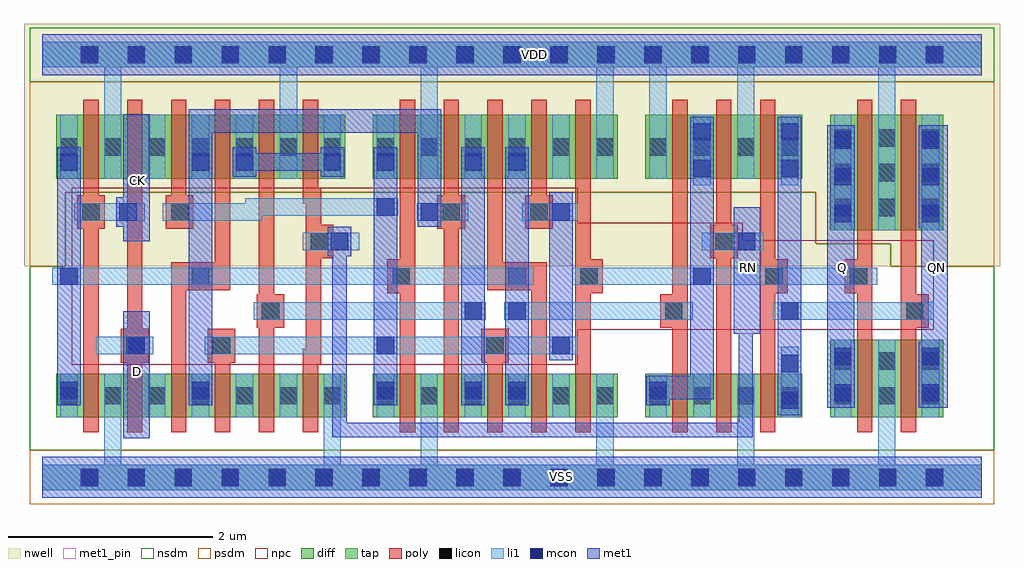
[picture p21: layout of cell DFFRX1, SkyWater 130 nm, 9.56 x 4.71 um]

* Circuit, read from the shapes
.subckt DFFRX1 CK D Q QN RN VDD VSS
XM1 VSS CK n1 VSS sky130_fd_pr__nfet_01v8 w=0.425 l=0.15
XM2 n2 D VSS VSS sky130_fd_pr__nfet_01v8 w=0.425 l=0.15
XM3 n3 n1 n2 VSS sky130_fd_pr__nfet_01v8 w=0.425 l=0.15
XM4 n4 n5 n3 VSS sky130_fd_pr__nfet_01v8 w=0.425 l=0.15
XM5 n6 n7 n4 VSS sky130_fd_pr__nfet_01v8 w=0.425 l=0.15
XM6 VSS RN n6 VSS sky130_fd_pr__nfet_01v8 w=0.425 l=0.15
XM7 VSS n1 n5 VSS sky130_fd_pr__nfet_01v8 w=0.425 l=0.15
XM8 n7 n3 VSS VSS sky130_fd_pr__nfet_01v8 w=0.425 l=0.15
XM9 n8 n5 n7 VSS sky130_fd_pr__nfet_01v8 w=0.425 l=0.15
XM10 n9 n1 n8 VSS sky130_fd_pr__nfet_01v8 w=0.425 l=0.15
XM11 VSS n10 n9 VSS sky130_fd_pr__nfet_01v8 w=0.425 l=0.15
XM12 n11 n8 n10 VSS sky130_fd_pr__nfet_01v8 w=0.425 l=0.15
XM13 VSS RN n11 VSS sky130_fd_pr__nfet_01v8 w=0.425 l=0.15
XM14 n12 n10 VSS VSS sky130_fd_pr__nfet_01v8 w=0.425 l=0.15
XM15 VSS n10 Q VSS sky130_fd_pr__nfet_01v8 w=0.76 l=0.15
XM16 QN n12 VSS VSS sky130_fd_pr__nfet_01v8 w=0.76 l=0.15
XM17 VDD CK n1 VDD sky130_fd_pr__pfet_01v8 w=0.625 l=0.15
XM18 n13 D VDD VDD sky130_fd_pr__pfet_01v8 w=0.625 l=0.15
XM19 n3 n5 n13 VDD sky130_fd_pr__pfet_01v8 w=0.625 l=0.15
XM20 n14 n1 n3 VDD sky130_fd_pr__pfet_01v8 w=0.625 l=0.15
XM21 VDD n7 n14 VDD sky130_fd_pr__pfet_01v8 w=0.625 l=0.15
XM22 n14 RN VDD VDD sky130_fd_pr__pfet_01v8 w=0.625 l=0.15
XM23 VDD n1 n5 VDD sky130_fd_pr__pfet_01v8 w=0.625 l=0.15
XM24 n7 n3 VDD VDD sky130_fd_pr__pfet_01v8 w=0.625 l=0.15
XM25 n8 n1 n7 VDD sky130_fd_pr__pfet_01v8 w=0.625 l=0.15
XM26 n15 n5 n8 VDD sky130_fd_pr__pfet_01v8 w=0.625 l=0.15
XM27 VDD n10 n15 VDD sky130_fd_pr__pfet_01v8 w=0.625 l=0.15
XM28 n10 n8 VDD VDD sky130_fd_pr__pfet_01v8 w=0.625 l=0.15
XM29 VDD RN n10 VDD sky130_fd_pr__pfet_01v8 w=0.625 l=0.15
XM30 n12 n10 VDD VDD sky130_fd_pr__pfet_01v8 w=0.625 l=0.15
XM31 VDD n10 Q VDD sky130_fd_pr__pfet_01v8 w=1.13 l=0.15
XM32 QN n12 VDD VDD sky130_fd_pr__pfet_01v8 w=1.13 l=0.15
.ends

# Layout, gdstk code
from math import pi, radians
import gdstk
lib = gdstk.Library(unit=1e-6, precision=1e-09)
def R(c, l, rs):  # rectangles x0, y0, x1, y1
    for r in rs: c.add(gdstk.rectangle(r[:2], r[2:], *l))
def A(c, l, x, y, w, h, nx, ny, dx, dy):  # array of equal rectangles
    R(c, l, [(x+i*dx, y+j*dy, x+i*dx+w, y+j*dy+h) for i in range(nx) for j in range(ny)])
def P(c, l, *ps):  # polygons
    for p in ps: c.add(gdstk.Polygon(p, *l))
nwell = (64, 20)
diff = (65, 20)
tap = (65, 44)
poly = (66, 20)
licon = (66, 44)
li1 = (67, 20)
mcon = (67, 44)
met1_pin = (68, 16)
met1 = (68, 20)
nsdm = (93, 44)
psdm = (94, 20)
npc = (95, 20)

licondiff_c_cdns_7515547 = lib.new_cell('LICONDIFF_C_CDNS_751554744755')
R(licondiff_c_cdns_7515547, diff, [(-0.125,-0.145,0.125,0.145)])
R(licondiff_c_cdns_7515547, licon, [(-0.085,-0.085,0.085,0.085), (-0.085,-0.085,0.085,0.085)])

pyl1con_c_cdns_751554744 = lib.new_cell('PYL1CON_C_CDNS_751554744751')
R(pyl1con_c_cdns_751554744, poly, [(-0.135,-0.165,0.135,0.165)])
R(pyl1con_c_cdns_751554744, licon, [(-0.085,-0.085,0.085,0.085)])
R(pyl1con_c_cdns_751554744, npc, [(-0.185,-0.185,0.185,0.185)])

c_pyl1con_c_cdns_751554744 = lib.new_cell('PYL1CON_C_CDNS_751554744754')
R(c_pyl1con_c_cdns_751554744, poly, [(-0.135,-0.29,0.135,0.29)])
R(c_pyl1con_c_cdns_751554744, licon, [(-0.085,-0.085,0.085,0.085)])
R(c_pyl1con_c_cdns_751554744, npc, [(-0.185,-0.185,0.185,0.185)])

l1m1_c_cdns_751554744750 = lib.new_cell('L1M1_C_CDNS_751554744750$$20')
R(l1m1_c_cdns_751554744750, li1, [(-0.125,-0.085,0.125,0.085)])
R(l1m1_c_cdns_751554744750, mcon, [(-0.085,-0.085,0.085,0.085)])
R(l1m1_c_cdns_751554744750, met1, [(-0.115,-0.145,0.115,0.145)])

c_l1m1_c_cdns_751554744750 = lib.new_cell('L1M1_C_CDNS_751554744750$$19')
R(c_l1m1_c_cdns_751554744750, li1, [(-0.085,-0.085,0.085,0.085)])
R(c_l1m1_c_cdns_751554744750, mcon, [(-0.085,-0.085,0.085,0.085)])
R(c_l1m1_c_cdns_751554744750, met1, [(-0.115,-0.145,0.115,0.145)])

c_l1m1_c_cdns_751554744750_ = lib.new_cell('L1M1_C_CDNS_751554744750$$8')
R(c_l1m1_c_cdns_751554744750_, li1, [(-0.085,-0.165,0.085,0.165)])
R(c_l1m1_c_cdns_751554744750_, mcon, [(-0.085,-0.085,0.085,0.085)])
R(c_l1m1_c_cdns_751554744750_, met1, [(-0.115,-0.145,0.115,0.145)])

c_l1m1_c_cdns_751554744750__ = lib.new_cell('L1M1_C_CDNS_751554744750$$9')
R(c_l1m1_c_cdns_751554744750__, li1, [(-0.165,-0.085,0.165,0.085)])
R(c_l1m1_c_cdns_751554744750__, mcon, [(-0.085,-0.085,0.085,0.085)])
R(c_l1m1_c_cdns_751554744750__, met1, [(-0.115,-0.145,0.115,0.145)])

c_l1m1_c_cdns_751554744750___ = lib.new_cell('L1M1_C_CDNS_751554744750$$11')
R(c_l1m1_c_cdns_751554744750___, li1, [(-0.085,-0.525,0.085,0.525)])
A(c_l1m1_c_cdns_751554744750___, mcon, -0.085, -0.445, 0.17, 0.17, 1, 3, 0, 0.36)
R(c_l1m1_c_cdns_751554744750___, met1, [(-0.115,-0.505,0.115,0.505)])

c_l1m1_c_cdns_751554744750____ = lib.new_cell('L1M1_C_CDNS_751554744750$$7')
R(c_l1m1_c_cdns_751554744750____, li1, [(-0.085,-0.345,0.085,0.345)])
R(c_l1m1_c_cdns_751554744750____, mcon, [(-0.085,-0.265,0.085,-0.095), (-0.085,0.095,0.085,0.265)])
R(c_l1m1_c_cdns_751554744750____, met1, [(-0.115,-0.325,0.115,0.325)])

dffrx1 = lib.new_cell('DFFRX1')
R(dffrx1, nwell, [(-0.18,2.07,9.38,4.445)])
R(dffrx1, diff, [(0.135,0.59,2.965,1.015), (3.235,0.59,5.635,1.015), (5.905,0.59,7.445,1.015), (7.715,0.59,8.825,1.35), (7.715,2.42,8.825,3.55), (0.135,2.925,2.965,3.55), (3.235,2.925,5.635,3.55), (5.905,2.925,7.445,3.55)])
A(dffrx1, poly, 6.17, 0.44, 0.15, 3.26, 3, 1, 0.43, 0)
R(dffrx1, poly, [(0.4,0.44,0.55,3.7), (0.83,0.44,0.98,3.7), (1.69,0.44,1.84,1.165), (2.12,0.44,2.27,3.7), (3.5,0.44,3.65,3.7), (3.93,0.44,4.08,3.7), (4.36,0.44,4.51,1.165), (5.22,0.44,5.37,3.7), (7.98,0.44,8.13,3.7), (8.41,0.44,8.56,3.7), (1.26,2.72,1.41,3.7), (4.79,2.72,4.94,3.7)])
P(dffrx1, poly, [(1.84,3.7),(1.69,3.7),(1.69,2.045),(1.26,2.045),(1.26,0.44),(1.41,0.44),(1.41,1.895),(1.84,1.895)],
  [(2.73,2.83),(2.7,2.83),(2.7,3.7),(2.55,3.7),(2.55,2.68),(2.58,2.68),(2.58,1.26),(2.55,1.26),(2.55,0.44),(2.7,0.44),(2.7,1.11),(2.73,1.11)],
  [(4.94,2.045),(4.51,2.045),(4.51,3.7),(4.36,3.7),(4.36,1.895),(4.79,1.895),(4.79,0.44),(4.94,0.44)])
A(dffrx1, licon, 0.375, -0.085, 0.17, 0.17, 19, 2, 0.46, 4.14)
A(dffrx1, licon, 3.275, 0.715, 0.17, 0.17, 4, 2, 0.43, 2.435)
A(dffrx1, licon, 5.945, 0.715, 0.17, 0.17, 4, 2, 0.43, 2.435)
A(dffrx1, licon, 7.755, 0.715, 0.17, 0.17, 3, 2, 0.43, 0.34)
A(dffrx1, licon, 7.755, 2.56, 0.17, 0.17, 3, 3, 0.43, 0.34)
A(dffrx1, licon, 1.465, 3.15, 0.17, 0.17, 4, 1, 0.43, 0)
R(dffrx1, licon, [(0.175,0.715,0.345,0.885), (0.605,0.715,0.775,0.885), (1.465,0.715,1.635,0.885), (2.755,0.715,2.925,0.885), (5.425,0.715,5.595,0.885), (0.175,3.15,0.345,3.32), (0.605,3.15,0.775,3.32), (5.425,3.15,5.595,3.32)])
R(dffrx1, li1, [(0.175,0.59,0.345,1.015), (1.465,0.59,1.635,1.015), (3.275,0.59,3.445,1.015), (4.135,0.59,4.305,1.015), (4.565,0.59,4.735,1.015), (5.945,0.59,6.115,1.015), (6.375,0.59,6.545,1.015), (7.235,0.59,7.405,1.015), (7.755,0.59,7.925,1.35), (8.615,0.59,8.785,1.35), (7.755,2.42,7.925,3.55), (8.615,2.42,8.785,3.55), (0.31,2.515,0.855,2.685), (0.175,2.925,0.345,3.55), (1.465,2.925,1.635,3.55), (1.895,2.925,2.065,3.55), (2.755,2.925,2.925,3.55), (3.275,2.925,3.445,3.55), (4.135,2.925,4.305,3.55), (4.565,2.925,4.735,3.55), (6.375,2.925,6.545,3.55), (7.235,2.925,7.405,3.55)])
P(dffrx1, li1, [(3.36,2.735),(1.985,2.735),(1.985,2.685),(1.18,2.685),(1.18,2.515),(2.155,2.515),(2.155,2.565),(3.36,2.565)],
  [(9.2,4.265),(0,4.265),(0,4.015),(0.605,4.015),(0.605,2.925),(0.775,2.925),(0.775,4.015),(2.325,4.015),(2.325,2.925),(2.495,2.925),(2.495,4.015),(3.705,4.015),(3.705,2.925),(3.875,2.925),(3.875,4.015),(5.425,4.015),(5.425,2.925),(5.595,2.925),(5.595,4.015),(5.945,4.015),(5.945,2.925),(6.115,2.925),(6.115,4.015),(6.805,4.015),(6.805,2.925),(6.975,2.925),(6.975,4.015),(8.185,4.015),(8.185,2.42),(8.355,2.42),(8.355,4.015),(9.2,4.015)],
  [(9.2,0.125),(8.355,0.125),(8.355,1.35),(8.185,1.35),(8.185,0.125),(6.975,0.125),(6.975,1.015),(6.805,1.015),(6.805,0.125),(5.595,0.125),(5.595,1.015),(5.425,1.015),(5.425,0.125),(3.875,0.125),(3.875,1.015),(3.705,1.015),(3.705,0.125),(2.925,0.125),(2.925,1.015),(2.755,1.015),(2.755,0.125),(0.775,0.125),(0.775,1.015),(0.605,1.015),(0.605,0.125),(0,0.125),(0,-0.125),(9.2,-0.125)])
A(dffrx1, mcon, 0.375, -0.085, 0.17, 0.17, 19, 2, 0.46, 4.14)
R(dffrx1, met1_pin, [(0.79,0.385,1.05,1.625), (7.69,0.68,7.95,3.45), (8.61,0.68,8.87,3.45), (6.77,1.405,7.03,2.645), (0.79,2.315,1.05,3.555)])
P(dffrx1, met1, [(7.03,2.645),(6.77,2.645),(6.77,1.405),(6.82,1.405),(6.82,0.535),(2.98,0.535),(2.98,2.31),(2.84,2.31),(2.84,0.395),(6.96,0.395),(6.96,1.405),(7.03,1.405)])
R(dffrx1, nsdm, [(-0.125,3.875,9.325,4.405)])
P(dffrx1, nsdm, [(9.325,2.07),(8.31,2.07),(8.31,2.29),(7.575,2.29),(7.575,2.795),(0.225,2.795),(0.225,2.07),(-0.125,2.07),(-0.125,0.265),(9.325,0.265)])
R(dffrx1, psdm, [(-0.125,-0.265,9.325,0.265)])
P(dffrx1, psdm, [(9.325,3.875),(-0.125,3.875),(-0.125,2.07),(0.225,2.07),(0.225,2.795),(7.575,2.795),(7.575,2.29),(8.31,2.29),(8.31,2.07),(9.325,2.07)])
P(dffrx1, npc, [(8.73,2.325),(6.86,2.325),(6.86,2.495),(5.245,2.495),(5.245,2.835),(0.29,2.835),(0.29,1.105),(5.245,1.105),(5.245,1.445),(8.73,1.445)])
dffrx1.add(gdstk.FlexPath([(7.155,1.63),(8.73,1.63)], 0.17, ends="flush", simple_path=True, layer=67, datatype=20))  # li1
dffrx1.add(gdstk.FlexPath([(5.19,1.97),(8.18,1.97)], 0.17, ends="flush", simple_path=True, layer=67, datatype=20))  # li1
dffrx1.add(gdstk.FlexPath([(0.525,1.29),(1.07,1.29)], 0.17, ends="flush", simple_path=True, layer=67, datatype=20))  # li1
dffrx1.add(gdstk.FlexPath([(5.08,2.925),(5.08,3.55)], 0.17, ends="flush", simple_path=True, layer=67, datatype=20))  # li1
dffrx1.add(gdstk.FlexPath([(5.08,0.59),(5.08,1.015)], 0.17, ends="flush", simple_path=True, layer=67, datatype=20))  # li1
dffrx1.add(gdstk.FlexPath([(1.98,0.59),(1.98,1.015)], 0.17, ends="flush", simple_path=True, layer=67, datatype=20))  # li1
dffrx1.add(gdstk.FlexPath([(0.095,1.97),(4.815,1.97)], 0.17, ends="flush", simple_path=True, layer=67, datatype=20))  # li1
dffrx1.add(gdstk.FlexPath([(1.59,1.29),(5.245,1.29)], 0.17, ends="flush", simple_path=True, layer=67, datatype=20))  # li1
dffrx1.add(gdstk.FlexPath([(3.665,2.6),(4.17,2.6)], 0.17, ends="flush", simple_path=True, layer=67, datatype=20))  # li1
dffrx1.add(gdstk.FlexPath([(1.12,2.925),(1.12,3.55)], 0.17, ends="flush", simple_path=True, layer=67, datatype=20))  # li1
dffrx1.add(gdstk.FlexPath([(1.12,0.59),(1.12,1.015)], 0.17, ends="flush", simple_path=True, layer=67, datatype=20))  # li1
dffrx1.add(gdstk.FlexPath([(2.41,0.59),(2.41,1.015)], 0.17, ends="flush", simple_path=True, layer=67, datatype=20))  # li1
dffrx1.add(gdstk.FlexPath([(4.525,1.63),(6.37,1.63)], 0.17, ends="flush", simple_path=True, layer=67, datatype=20))  # li1
dffrx1.add(gdstk.FlexPath([(2.07,1.63),(4.345,1.63)], 0.17, ends="flush", simple_path=True, layer=67, datatype=20))  # li1
dffrx1.add(gdstk.FlexPath([(4.7,2.6),(5.245,2.6)], 0.17, ends="flush", simple_path=True, layer=67, datatype=20))  # li1
dffrx1.add(gdstk.FlexPath([(2.55,2.31),(3.105,2.31)], 0.17, ends="flush", simple_path=True, layer=67, datatype=20))  # li1
dffrx1.add(gdstk.FlexPath([(7.055,2.31),(6.46,2.31)], 0.17, ends="flush", simple_path=True, layer=67, datatype=20))  # li1
dffrx1.add(gdstk.FlexPath([(0,4.14),(9.2,4.14)], 0.25, ends="flush", simple_path=True, layer=65, datatype=44))  # tap
dffrx1.add(gdstk.FlexPath([(0,0),(9.2,0)], 0.25, ends="flush", simple_path=True, layer=65, datatype=44))  # tap
dffrx1.add(gdstk.FlexPath([(4.22,0.705),(4.22,3.235)], 0.23, ends="flush", simple_path=True, layer=68, datatype=20))  # met1
dffrx1.add(gdstk.FlexPath([(0,0),(9.2,0)], 0.4, ends="flush", simple_path=True, layer=68, datatype=20))  # met1
dffrx1.add(gdstk.FlexPath([(0,4.14),(9.2,4.14)], 0.4, ends="flush", simple_path=True, layer=68, datatype=20))  # met1
dffrx1.add(gdstk.FlexPath([(0.26,0.705),(0.26,3.235)], 0.23, ends="flush", simple_path=True, layer=68, datatype=20))  # met1
dffrx1.add(gdstk.FlexPath([(6.46,3.53),(6.46,0.88),(5.915,0.88)], 0.23, ends="flush", simple_path=True, layer=68, datatype=20))  # met1
dffrx1.add(gdstk.FlexPath([(1.865,3.09),(2.955,3.09)], 0.17, ends="flush", simple_path=True, layer=68, datatype=20))  # met1
dffrx1.add(gdstk.FlexPath([(3.79,2.505),(3.79,3.49),(1.55,3.49),(1.55,0.705)], 0.23, ends="flush", simple_path=True, layer=68, datatype=20))  # met1
dffrx1.add(gdstk.FlexPath([(7.32,0.61),(7.32,3.53)], 0.23, ends="flush", simple_path=True, layer=68, datatype=20))  # met1
dffrx1.add(gdstk.FlexPath([(0.92,2.315),(0.92,3.555)], 0.26, ends="flush", simple_path=True, layer=68, datatype=20))  # met1
dffrx1.add(gdstk.FlexPath([(8.74,3.45),(8.74,0.68)], 0.26, ends="flush", simple_path=True, layer=68, datatype=20))  # met1
dffrx1.add(gdstk.FlexPath([(7.82,3.45),(7.82,0.68)], 0.26, ends="flush", simple_path=True, layer=68, datatype=20))  # met1
dffrx1.add(gdstk.FlexPath([(0.92,1.625),(0.92,0.385)], 0.26, ends="flush", simple_path=True, layer=68, datatype=20))  # met1
dffrx1.add(gdstk.FlexPath([(3.36,0.705),(3.36,3.235)], 0.23, ends="flush", simple_path=True, layer=68, datatype=20))  # met1
dffrx1.add(gdstk.FlexPath([(4.65,0.705),(4.65,3.235)], 0.23, ends="flush", simple_path=True, layer=68, datatype=20))  # met1
dffrx1.add(gdstk.FlexPath([(5.08,1.145),(5.08,2.795)], 0.23, ends="flush", simple_path=True, layer=68, datatype=20))  # met1
dffrx1.add(gdstk.FlexPath([(0,4.14),(9.2,4.14)], 0.4, ends="flush", simple_path=True, layer=68, datatype=16))  # met1_pin
dffrx1.add(gdstk.FlexPath([(0,0),(9.2,0)], 0.4, ends="flush", simple_path=True, layer=68, datatype=16))  # met1_pin
dffrx1.add(gdstk.Reference(licondiff_c_cdns_7515547, (5.08,0.8)))
dffrx1.add(gdstk.Reference(licondiff_c_cdns_7515547, (5.08,3.235)))
dffrx1.add(gdstk.Reference(licondiff_c_cdns_7515547, (1.12,3.235)))
dffrx1.add(gdstk.Reference(licondiff_c_cdns_7515547, (1.12,0.8)))
dffrx1.add(gdstk.Reference(licondiff_c_cdns_7515547, (1.98,0.8)))
dffrx1.add(gdstk.Reference(licondiff_c_cdns_7515547, (2.41,0.8)))
dffrx1.add(gdstk.Reference(pyl1con_c_cdns_751554744, (8.545,1.63), rotation=pi, x_reflection=True))
dffrx1.add(gdstk.Reference(pyl1con_c_cdns_751554744, (7.165,1.97), rotation=pi, x_reflection=True))
dffrx1.add(gdstk.Reference(pyl1con_c_cdns_751554744, (7.995,1.97), rotation=pi, x_reflection=True))
dffrx1.add(gdstk.Reference(pyl1con_c_cdns_751554744, (2.235,1.63), rotation=pi))
dffrx1.add(gdstk.Reference(pyl1con_c_cdns_751554744, (2.715,2.31), x_reflection=True))
dffrx1.add(gdstk.Reference(pyl1con_c_cdns_751554744, (0.475,2.6), rotation=pi))
dffrx1.add(gdstk.Reference(pyl1con_c_cdns_751554744, (0.905,1.29), x_reflection=True))
dffrx1.add(gdstk.Reference(pyl1con_c_cdns_751554744, (3.515,1.97), rotation=pi, x_reflection=True))
dffrx1.add(gdstk.Reference(pyl1con_c_cdns_751554744, (5.355,1.97), rotation=pi, x_reflection=True))
dffrx1.add(gdstk.Reference(pyl1con_c_cdns_751554744, (4.435,1.29), x_reflection=True))
dffrx1.add(gdstk.Reference(pyl1con_c_cdns_751554744, (1.755,1.29), x_reflection=True))
dffrx1.add(gdstk.Reference(pyl1con_c_cdns_751554744, (1.345,2.6), rotation=pi))
dffrx1.add(gdstk.Reference(pyl1con_c_cdns_751554744, (4.865,2.6), rotation=pi))
dffrx1.add(gdstk.Reference(pyl1con_c_cdns_751554744, (6.675,2.31)))
dffrx1.add(gdstk.Reference(pyl1con_c_cdns_751554744, (6.185,1.63)))
dffrx1.add(gdstk.Reference(pyl1con_c_cdns_751554744, (4.005,2.6), rotation=pi))
dffrx1.add(gdstk.Reference(c_pyl1con_c_cdns_751554744, (1.55,1.97), rotation=pi/2, x_reflection=True))
dffrx1.add(gdstk.Reference(c_pyl1con_c_cdns_751554744, (4.65,1.97), rotation=pi/2))
dffrx1.add(gdstk.Reference(l1m1_c_cdns_751554744750, (4.22,1.63)))
dffrx1.add(gdstk.Reference(l1m1_c_cdns_751554744750, (3.36,2.65), rotation=pi, x_reflection=True))
dffrx1.add(gdstk.Reference(l1m1_c_cdns_751554744750, (4.65,1.63), x_reflection=True))
dffrx1.add(gdstk.Reference(l1m1_c_cdns_751554744750, (3.79,2.6), rotation=pi, x_reflection=True))
dffrx1.add(gdstk.Reference(c_l1m1_c_cdns_751554744750, (2.91,2.31)))
dffrx1.add(gdstk.Reference(c_l1m1_c_cdns_751554744750_, (1.98,3.09), rotation=pi, x_reflection=True))
dffrx1.add(gdstk.Reference(c_l1m1_c_cdns_751554744750_, (6.03,0.85)))
dffrx1.add(gdstk.Reference(c_l1m1_c_cdns_751554744750_, (0.26,3.09), rotation=pi, x_reflection=True))
dffrx1.add(gdstk.Reference(c_l1m1_c_cdns_751554744750_, (0.26,0.85), rotation=pi, x_reflection=True))
dffrx1.add(gdstk.Reference(c_l1m1_c_cdns_751554744750_, (2.84,3.09), rotation=pi, x_reflection=True))
dffrx1.add(gdstk.Reference(c_l1m1_c_cdns_751554744750_, (3.36,0.85), rotation=pi, x_reflection=True))
dffrx1.add(gdstk.Reference(c_l1m1_c_cdns_751554744750_, (3.36,3.09), rotation=pi, x_reflection=True))
dffrx1.add(gdstk.Reference(c_l1m1_c_cdns_751554744750_, (4.22,0.85), rotation=pi, x_reflection=True))
dffrx1.add(gdstk.Reference(c_l1m1_c_cdns_751554744750_, (4.22,3.09), rotation=pi, x_reflection=True))
dffrx1.add(gdstk.Reference(c_l1m1_c_cdns_751554744750_, (4.65,0.85), rotation=pi, x_reflection=True))
dffrx1.add(gdstk.Reference(c_l1m1_c_cdns_751554744750_, (4.65,3.09), rotation=pi, x_reflection=True))
dffrx1.add(gdstk.Reference(c_l1m1_c_cdns_751554744750_, (1.55,3.09), rotation=pi, x_reflection=True))
dffrx1.add(gdstk.Reference(c_l1m1_c_cdns_751554744750_, (1.55,0.85), rotation=pi, x_reflection=True))
dffrx1.add(gdstk.Reference(c_l1m1_c_cdns_751554744750__, (0.84,2.6), x_reflection=True))
dffrx1.add(gdstk.Reference(c_l1m1_c_cdns_751554744750__, (7.32,1.63), x_reflection=True))
dffrx1.add(gdstk.Reference(c_l1m1_c_cdns_751554744750__, (0.26,1.97), rotation=pi, x_reflection=True))
dffrx1.add(gdstk.Reference(c_l1m1_c_cdns_751554744750__, (0.92,1.29)))
dffrx1.add(gdstk.Reference(c_l1m1_c_cdns_751554744750__, (6.9,2.31)))
dffrx1.add(gdstk.Reference(c_l1m1_c_cdns_751554744750__, (6.46,1.97)))
dffrx1.add(gdstk.Reference(c_l1m1_c_cdns_751554744750__, (3.36,1.29)))
dffrx1.add(gdstk.Reference(c_l1m1_c_cdns_751554744750__, (5.08,1.29)))
dffrx1.add(gdstk.Reference(c_l1m1_c_cdns_751554744750__, (5.08,2.6)))
dffrx1.add(gdstk.Reference(c_l1m1_c_cdns_751554744750___, (8.7,2.945)))
dffrx1.add(gdstk.Reference(c_l1m1_c_cdns_751554744750___, (7.84,2.945)))
dffrx1.add(gdstk.Reference(c_l1m1_c_cdns_751554744750____, (8.7,1.005)))
dffrx1.add(gdstk.Reference(c_l1m1_c_cdns_751554744750____, (7.84,1.005)))
dffrx1.add(gdstk.Reference(c_l1m1_c_cdns_751554744750____, (7.32,3.205), rotation=pi, x_reflection=True))
dffrx1.add(gdstk.Reference(c_l1m1_c_cdns_751554744750____, (7.32,0.935)))
dffrx1.add(gdstk.Reference(c_l1m1_c_cdns_751554744750____, (6.46,3.205), rotation=pi, x_reflection=True))
dffrx1.add(gdstk.Label('VDD', (4.825,4.145), layer=68, texttype=5))
dffrx1.add(gdstk.Label('CK', (0.935,2.91), layer=68, texttype=5))
dffrx1.add(gdstk.Label('VSS', (5.085,0.005), layer=68, texttype=5))
dffrx1.add(gdstk.Label('QN', (8.755,2.055), layer=68, texttype=5))
dffrx1.add(gdstk.Label('Q', (7.835,2.055), layer=68, texttype=5))
dffrx1.add(gdstk.Label('D', (0.935,1.035), layer=68, texttype=5))
dffrx1.add(gdstk.Label('RN', (6.915,2.055), layer=68, texttype=5))

lib.write_gds('DFFRX1.gds')
